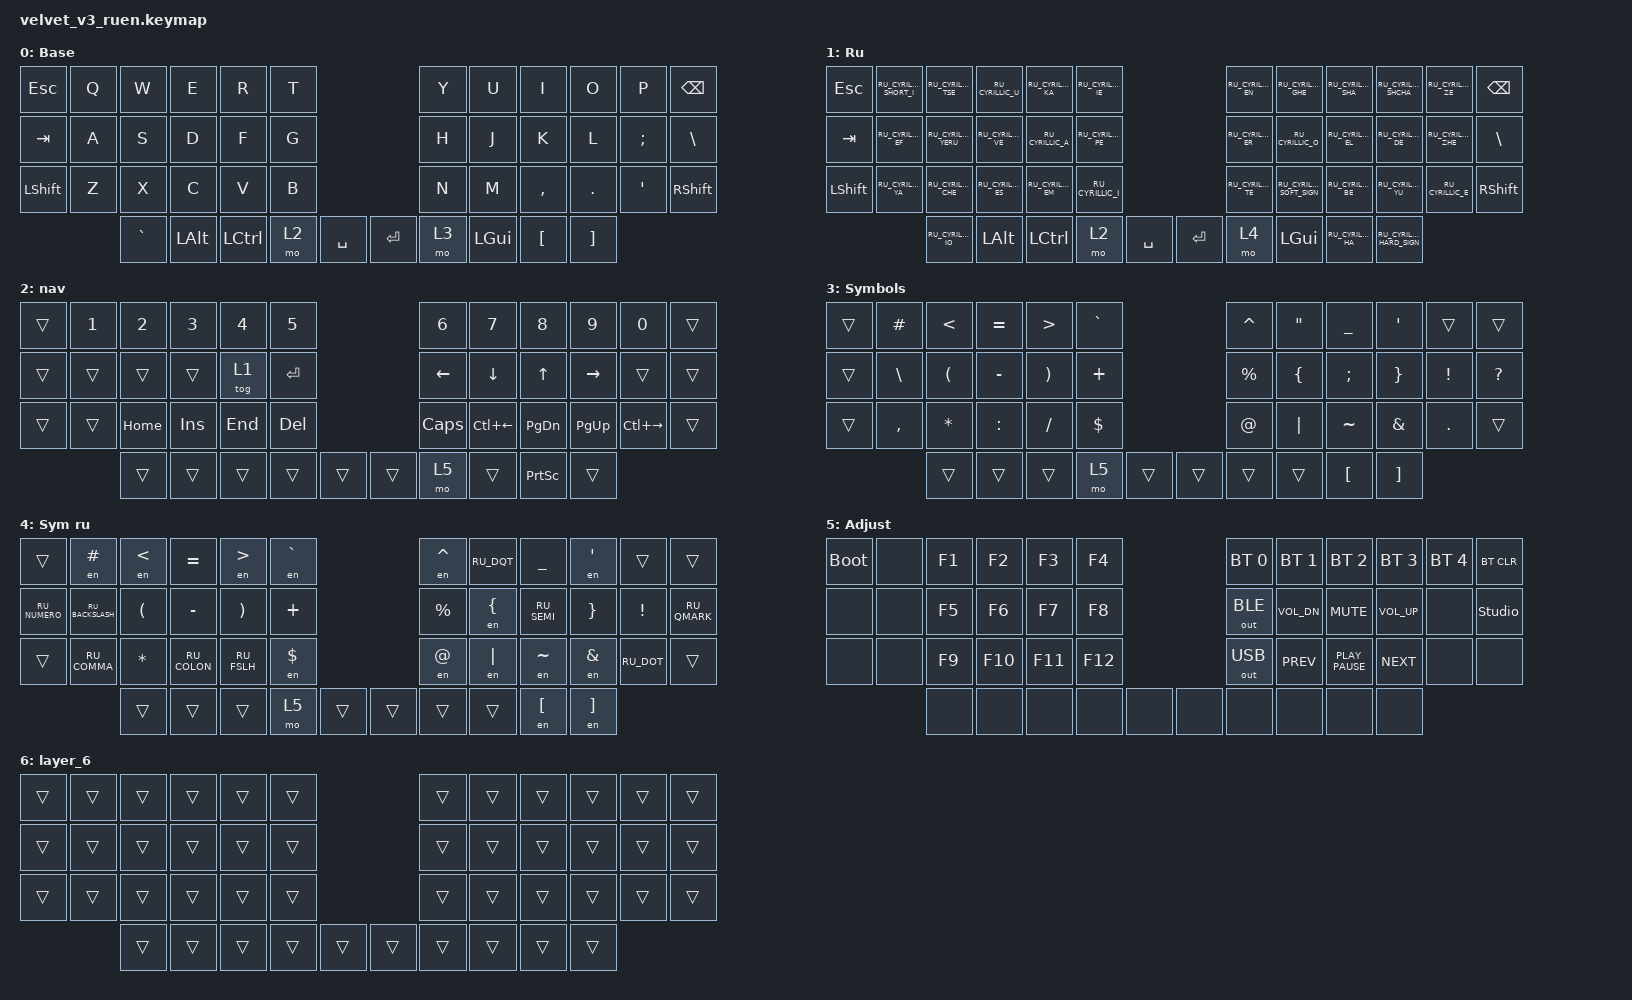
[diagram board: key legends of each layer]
#include "keys_ru.h"
#include <behaviors.dtsi>
#include <dt-bindings/zmk/bt.h>
#include <dt-bindings/zmk/keys.h>
#include <dt-bindings/zmk/outputs.h>

/ {
    combos {
        compatible = "zmk,combos";

        cmben {
            bindings = <&layer_en>;
            key-positions = <3 4>;
            layers = <1>;
        };

        cmbru {
            bindings = <&layer_ru>;
            key-positions = <3 4>;
            layers = <0>;
        };
    };

    macros {
        to_ru: to_ru {
            compatible = "zmk,behavior-macro";
            #binding-cells = <0>;
            bindings = <&kp LG(SPACE)>;
            label = "TO_RU";
            wait-ms = <0>;
            tap-ms = <30>;
        };

        to_en: to_en {
            compatible = "zmk,behavior-macro";
            #binding-cells = <0>;
            bindings = <&kp LG(SPACE)>;
            label = "TO_EN";
            wait-ms = <0>;
            tap-ms = <30>;
        };

        layer_en: layer_en {
            compatible = "zmk,behavior-macro";
            #binding-cells = <0>;
            bindings = <&to 0 &to_en>;
            label = "LAYER_EN";
            wait-ms = <0>;
            tap-ms = <30>;
        };

        layer_ru: layer_ru {
            compatible = "zmk,behavior-macro";
            #binding-cells = <0>;
            bindings = <&to 1 &to_ru>;
            label = "LAYER_RU";
            tap-ms = <30>;
            wait-ms = <0>;
        };

        en: en {
            compatible = "zmk,behavior-macro-one-param";
            #binding-cells = <1>;
            bindings =
                <&to_en>,
                <&macro_press>,
                <&macro_param_1to1 &kp MACRO_PLACEHOLDER>,
                <&macro_pause_for_release>,
                <&macro_release>,
                <&macro_param_1to1 &kp MACRO_PLACEHOLDER>,
                <&macro_tap>,
                <&to_ru>;

            label = "EN";
            wait-ms = <0>;
            tap-ms = <30>;
        };

        lg_tog: lg_tog {
            compatible = "zmk,behavior-macro";
            #binding-cells = <0>;
            bindings = <&kp LG(SPACE) &tog 1>;
            label = "LG_TOG";
        };
    };

    behaviors {
        lg_space: lg_space {
            compatible = "zmk,behavior-mod-morph";
            label = "LG_SPACE";
            bindings = <&kp SPACE>, <&lg_tog>;

            #binding-cells = <0>;
            mods = <(MOD_LGUI)>;
        };
    };

    keymap {
        compatible = "zmk,keymap";

        en {
            bindings = <
&kp ESC    &kp Q  &kp W      &kp E         &kp R      &kp T                        &kp Y  &kp U     &kp I      &kp O     &kp P     &kp BSPC
&kp TAB    &kp A  &kp S      &kp D         &kp F      &kp G                        &kp H  &kp J     &kp K      &kp L     &kp SEMI  &kp BSLH
&kp LSHFT  &kp Z  &kp X      &kp C         &kp V      &kp B                        &kp N  &kp M     &kp COMMA  &kp DOT   &kp SQT   &kp RSHFT
                  &kp GRAVE  &kp LEFT_ALT  &kp LCTRL  &mo 2  &kp SPACE    &kp RET  &mo 3  &kp LGUI  &kp LBKT   &kp RBKT
            >;

            display-name = "Base";
        };

        ru {
            display-name = "Ru";
            bindings = <
&kp ESC    &kp RU_CYRILLIC_SHORT_I  &kp RU_CYRILLIC_TSE   &kp RU_CYRILLIC_U   &kp RU_CYRILLIC_KA  &kp RU_CYRILLIC_IE                        &kp RU_CYRILLIC_EN  &kp RU_CYRILLIC_GHE        &kp RU_CYRILLIC_SHA  &kp RU_CYRILLIC_SHCHA      &kp RU_CYRILLIC_ZE   &kp BSPC
&kp TAB    &kp RU_CYRILLIC_EF       &kp RU_CYRILLIC_YERU  &kp RU_CYRILLIC_VE  &kp RU_CYRILLIC_A   &kp RU_CYRILLIC_PE                        &kp RU_CYRILLIC_ER  &kp RU_CYRILLIC_O          &kp RU_CYRILLIC_EL   &kp RU_CYRILLIC_DE         &kp RU_CYRILLIC_ZHE  &kp BSLH
&kp LSHFT  &kp RU_CYRILLIC_YA       &kp RU_CYRILLIC_CHE   &kp RU_CYRILLIC_ES  &kp RU_CYRILLIC_EM  &kp RU_CYRILLIC_I                         &kp RU_CYRILLIC_TE  &kp RU_CYRILLIC_SOFT_SIGN  &kp RU_CYRILLIC_BE   &kp RU_CYRILLIC_YU         &kp RU_CYRILLIC_E    &kp RSHFT
                                    &kp RU_CYRILLIC_IO    &kp LEFT_ALT        &kp LCTRL           &mo 2               &kp SPACE    &kp RET  &mo 4               &kp LGUI                   &kp RU_CYRILLIC_HA   &kp RU_CYRILLIC_HARD_SIGN
            >;
        };

        nav {
            bindings = <
&trans  &kp N1  &kp N2    &kp N3   &kp N4   &kp N5                     &kp N6          &kp N7          &kp N8           &kp N9           &kp N0         &trans
&trans  &trans  &trans    &trans   &tog 1   &kp RET                    &kp LEFT_ARROW  &kp DOWN_ARROW  &kp UP           &kp RIGHT_ARROW  &trans         &trans
&trans  &trans  &kp HOME  &kp INS  &kp END  &kp DEL                    &kp CLCK        &kp LC(LEFT)    &kp PAGE_DOWN    &kp PAGE_UP      &kp LC(RIGHT)  &trans
                &trans    &trans   &trans   &trans   &trans    &trans  &mo 5           &trans          &kp PRINTSCREEN  &trans
            >;

            display-name = "nav";
            label = "Navigation";
        };

        sym_en {
            bindings = <
&trans  &kp HASH   &kp LT    &kp EQUAL  &kp GT    &kp GRAVE                    &kp CARET  &kp DQT   &kp UNDER  &kp SQT   &trans    &trans
&trans  &kp BSLH   &kp LPAR  &kp MINUS  &kp RPAR  &kp PLUS                     &kp PRCNT  &kp LBRC  &kp SEMI   &kp RBRC  &kp EXCL  &kp QUESTION
&trans  &kp COMMA  &kp STAR  &kp COLON  &kp FSLH  &kp DLLR                     &kp AT     &kp PIPE  &kp TILDE  &kp AMPS  &kp DOT   &trans
                   &trans    &trans     &trans    &mo 5      &trans    &trans  &trans     &trans    &kp LBKT   &kp RBKT
            >;

            display-name = "Symbols";
        };

        sym_ru {
            display-name = "Sym ru";
            bindings = <
&trans         &en HASH          &en LT    &kp EQUAL     &en GT       &en GRAVE                    &en CARET  &kp RU_DQT  &kp UNDER    &en SQT   &trans      &trans
&kp RU_NUMERO  &kp RU_BACKSLASH  &kp LPAR  &kp MINUS     &kp RPAR     &kp PLUS                     &kp PRCNT  &en LBRC    &kp RU_SEMI  &kp RBRC  &kp EXCL    &kp RU_QMARK
&trans         &kp RU_COMMA      &kp STAR  &kp RU_COLON  &kp RU_FSLH  &en DLLR                     &en AT     &en PIPE    &en TILDE    &en AMPS  &kp RU_DOT  &trans
                                 &trans    &trans        &trans       &mo 5      &trans    &trans  &trans     &trans      &en LBKT     &en RBKT
            >;
        };

        adj {
            bindings = <
&bootloader  &none  &kp F1  &kp F2   &kp F3   &kp F4                   &bt BT_SEL 0  &bt BT_SEL 1  &bt BT_SEL 2      &bt BT_SEL 3  &bt BT_SEL 4  &bt BT_CLR
&none        &none  &kp F5  &kp F6   &kp F7   &kp F8                   &out OUT_BLE  &kp C_VOL_DN  &kp K_MUTE        &kp C_VOL_UP  &none         &studio_unlock
&none        &none  &kp F9  &kp F10  &kp F11  &kp F12                  &out OUT_USB  &kp K_PREV    &kp K_PLAY_PAUSE  &kp K_NEXT    &none         &none
                    &none   &none    &none    &none    &none    &none  &none         &none         &none             &none
            >;

            display-name = "Adjust";
        };

        layer_6 {
            bindings = <
&trans  &trans  &trans  &trans  &trans  &trans                    &trans  &trans  &trans  &trans  &trans  &trans
&trans  &trans  &trans  &trans  &trans  &trans                    &trans  &trans  &trans  &trans  &trans  &trans
&trans  &trans  &trans  &trans  &trans  &trans                    &trans  &trans  &trans  &trans  &trans  &trans
                &trans  &trans  &trans  &trans  &trans    &trans  &trans  &trans  &trans  &trans
            >;
        };
    };
};
